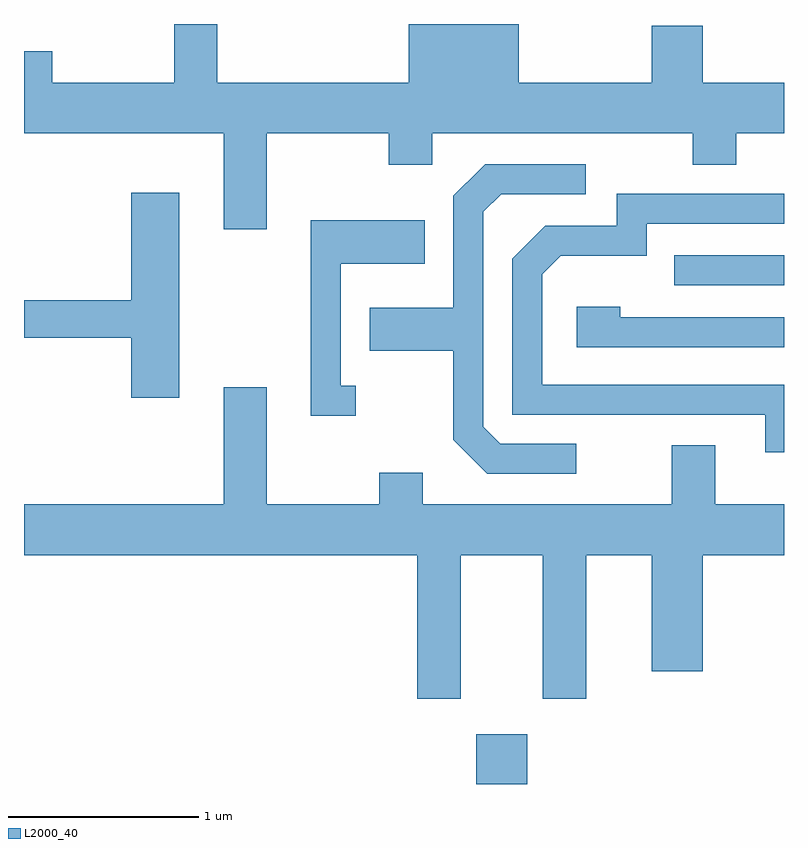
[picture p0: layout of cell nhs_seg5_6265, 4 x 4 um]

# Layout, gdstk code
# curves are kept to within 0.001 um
import gdstk
lib = gdstk.Library(unit=1e-6, precision=1e-09)
def R(c, l, rs):  # rectangles x0, y0, x1, y1
    for r in rs: c.add(gdstk.rectangle(r[:2], r[2:], *l))
def P(c, l, *ps):  # polygons
    for p in ps: c.add(gdstk.Polygon(p, *l))
L2000_40 = (2000, 40)

nhs_seg5_6265 = lib.new_cell('nhs_seg5_6265')
R(nhs_seg5_6265, L2000_40, [(373.991,1420.072,374.259,1420.334), (375.033,1422.696,375.611,1422.854)])
P(nhs_seg5_6265, L2000_40, [(373.636,1423.764),(372.629,1423.764),(372.629,1424.072),(372.401,1424.072),(372.401,1423.764),(371.759,1423.764),(371.759,1423.929),(371.611,1423.929),(371.611,1423.496),(372.661,1423.496),(372.661,1422.991),(372.889,1422.991),(372.889,1423.496),(373.531,1423.496),(373.531,1423.331),(373.759,1423.331),(373.759,1423.496),(375.131,1423.496),(375.131,1423.331),(375.359,1423.331),(375.359,1423.496),(375.611,1423.496),(375.611,1423.764),(375.184,1423.764),(375.184,1424.064),(374.916,1424.064),(374.916,1423.764),(374.214,1423.764),(374.214,1424.072),(373.636,1424.072)],
  [(374.518,1421.864),(374.117,1421.864),(374.029,1421.952),(374.029,1423.084),(374.122,1423.176),(374.568,1423.176),(374.568,1423.334),(374.039,1423.334),(373.871,1423.167),(373.871,1422.579),(373.431,1422.579),(373.431,1422.351),(373.871,1422.351),(373.871,1421.884),(374.049,1421.706),(374.518,1421.706)],
  [(372.429,1423.184),(372.176,1423.184),(372.176,1422.619),(371.611,1422.619),(371.611,1422.421),(372.176,1422.421),(372.176,1422.106),(372.429,1422.106)],
  [(375.611,1422.174),(374.339,1422.174),(374.339,1422.754),(374.437,1422.851),(374.889,1422.851),(374.889,1423.021),(375.611,1423.021),(375.611,1423.179),(374.731,1423.179),(374.731,1423.009),(374.354,1423.009),(374.181,1422.837),(374.181,1422.016),(375.511,1422.016),(375.511,1421.818),(375.611,1421.818)],
  [(373.358,1422.169),(373.279,1422.169),(373.279,1422.811),(373.719,1422.811),(373.719,1423.039),(373.121,1423.039),(373.121,1422.011),(373.358,1422.011)],
  [(375.611,1422.529),(374.749,1422.529),(374.749,1422.584),(374.521,1422.584),(374.521,1422.371),(375.611,1422.371)],
  [(373.909,1421.276),(374.341,1421.276),(374.341,1420.521),(374.569,1420.521),(374.569,1421.276),(374.916,1421.276),(374.916,1420.666),(375.184,1420.666),(375.184,1421.276),(375.611,1421.276),(375.611,1421.544),(375.249,1421.544),(375.249,1421.854),(375.021,1421.854),(375.021,1421.544),(373.709,1421.544),(373.709,1421.709),(373.481,1421.709),(373.481,1421.544),(372.889,1421.544),(372.889,1422.159),(372.661,1422.159),(372.661,1421.544),(371.611,1421.544),(371.611,1421.276),(373.681,1421.276),(373.681,1420.521),(373.909,1420.521)])

lib.write_gds('nhs_seg5_6265.gds')
